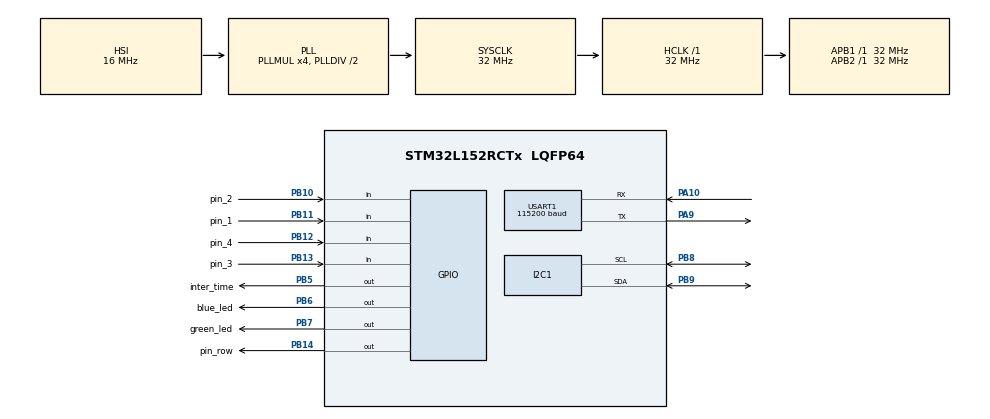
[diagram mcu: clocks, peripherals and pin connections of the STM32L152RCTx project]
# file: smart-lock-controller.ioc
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FREERTOS.Tasks01=defaultTask,24,128,StartDefaultTask,Default,NULL,Dynamic,NULL,NULL;init_task,24,128,InitTask,Default,NULL,Dynamic,NULL,NULL;close_state_tas,24,128,CloseStateTask,Default,NULL,Dynamic,NULL,NULL;input_task,24,128,InputTask,Default,NULL,Dynamic,NULL,NULL;open_task,24,128,OpenTask,Default,NULL,Dynamic,NULL,NULL
FREERTOS.configTOTAL_HEAP_SIZE=20000
FREERTOS.configUSE_TASK_NOTIFICATIONS=0
I2C1.I2C_Mode=I2C_Standard
Mcu.Family=STM32L1
Mcu.Name=STM32L152RCTx
Mcu.Package=LQFP64
NVIC.PriorityGroup=NVIC_PRIORITYGROUP_4
NVIC.TIM2_IRQn=true\:0\:0\:false\:false\:true\:false\:false\:true
NVIC.TIM9_IRQn=true\:5\:0\:false\:false\:true\:true\:true\:true
NVIC.TimeBase=TIM2_IRQn
NVIC.TimeBaseIP=TIM2
PA10.Mode=Asynchronous
PA10.Signal=USART1_RX
PA9.Mode=Asynchronous
PA9.Signal=USART1_TX
PB10.GPIO_Label=pin_2
PB10.GPIO_PuPd=GPIO_PULLDOWN
PB10.Signal=GPIO_Input
PB11.GPIO_Label=pin_1
PB11.GPIO_PuPd=GPIO_PULLDOWN
PB11.Signal=GPIO_Input
PB12.GPIO_Label=pin_4
PB12.GPIO_PuPd=GPIO_PULLDOWN
PB12.Signal=GPIO_Input
PB13.GPIO_Label=pin_3
PB13.GPIO_PuPd=GPIO_PULLDOWN
PB13.Signal=GPIO_Input
PB14.GPIO_Label=pin_row
PB14.GPIO_PuPd=GPIO_PULLUP
PB14.Signal=GPIO_Output
PB5.GPIO_Label=inter_time
PB5.Signal=GPIO_Output
PB6.GPIO_Label=blue_led
PB6.PinState=GPIO_PIN_RESET
PB6.Signal=GPIO_Output
PB7.GPIO_Label=green_led
PB7.PinState=GPIO_PIN_RESET
PB7.Signal=GPIO_Output
PB8.Mode=I2C
PB8.Signal=I2C1_SCL
PB9.Mode=I2C
PB9.Signal=I2C1_SDA
PH0-OSC_IN.Mode=HSE-External-Oscillator
PH0-OSC_IN.Signal=RCC_OSC_IN
PH1-OSC_OUT.Mode=HSE-External-Oscillator
PH1-OSC_OUT.Signal=RCC_OSC_OUT
ProjectManager.HeapSize=0x200
ProjectManager.StackSize=0x400
ProjectManager.TargetToolchain=STM32CubeIDE
RCC.48MHZClocksFreq_Value=32000000
RCC.AHBFreq_Value=32000000
RCC.APB1Freq_Value=32000000
RCC.APB1TimFreq_Value=32000000
RCC.APB2Freq_Value=32000000
RCC.APB2TimFreq_Value=32000000
RCC.HCLKFreq_Value=32000000
RCC.HSE_VALUE=24000000
RCC.HSI_VALUE=16000000
RCC.LSE_VALUE=32768
RCC.MSI_VALUE=2097000
RCC.PLLMUL=RCC_PLL_MUL4
RCC.SYSCLKFreq_VALUE=32000000
RCC.SYSCLKSource=RCC_SYSCLKSOURCE_PLLCLK
RCC.VCOOutputFreq_Value=64000000
TIM9.Period=20000
TIM9.Prescaler=32000
USART1.BaudRate=115200
USART1.VirtualMode=VM_ASYNC
VP_FREERTOS_VS_CMSIS_V2.Mode=CMSIS_V2
VP_SYS_VS_tim2.Mode=TIM2
VP_TIM9_VS_ClockSourceINT.Mode=Internal
board=custom

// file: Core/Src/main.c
/* USER CODE BEGIN Header */
/**
  ******************************************************************************
  * @file           : main.c
  * @brief          : Main program body
  ******************************************************************************
  * @attention
  *
  * <h2><center>&copy; Copyright (c) 2020 STMicroelectronics.
  * All rights reserved.</center></h2>
  *
  * This software component is licensed by ST under BSD 3-Clause license,
  * the "License"; You may not use this file except in compliance with the
  * License. You may obtain a copy of the License at:
  *                        opensource.org/licenses/BSD-3-Clause
  *
  ******************************************************************************
  */
/* USER CODE END Header */

#include "main.h"
#include "cmsis_os.h"

/* USER CODE BEGIN Includes */
#include "wifi.h"
#include "utils.h"
#include "lcd16x2_i2c.h"
#include <string.h>
//#include "UartRingbuffer_multi.h"
/* USER CODE END Includes */

I2C_HandleTypeDef hi2c1;

TIM_HandleTypeDef htim9;

UART_HandleTypeDef huart1;

/* Definitions for defaultTask */
osThreadId_t defaultTaskHandle;
const osThreadAttr_t defaultTask_attributes = {
  .name = "defaultTask",
  .priority = (osPriority_t) osPriorityNormal,
  .stack_size = 128 * 4
};
/* Definitions for init_task */
osThreadId_t init_taskHandle;
const osThreadAttr_t init_task_attributes = {
  .name = "init_task",
  .priority = (osPriority_t) osPriorityNormal,
  .stack_size = 128 * 4
};
/* Definitions for close_state_tas */
osThreadId_t close_state_tasHandle;
const osThreadAttr_t close_state_tas_attributes = {
  .name = "close_state_tas",
  .priority = (osPriority_t) osPriorityNormal,
  .stack_size = 128 * 4
};
/* Definitions for input_task */
osThreadId_t input_taskHandle;
const osThreadAttr_t input_task_attributes = {
  .name = "input_task",
  .priority = (osPriority_t) osPriorityNormal,
  .stack_size = 128 * 4
};
/* Definitions for open_task */
osThreadId_t open_taskHandle;
const osThreadAttr_t open_task_attributes = {
  .name = "open_task",
  .priority = (osPriority_t) osPriorityNormal,
  .stack_size = 128 * 4
};

void SystemClock_Config(void);
static void MX_GPIO_Init(void);
static void MX_USART1_UART_Init(void);
static void MX_TIM9_Init(void);
static void MX_I2C1_Init(void);
void StartDefaultTask(void *argument);
void InitTask(void *argument);
void CloseStateTask(void *argument);
void InputTask(void *argument);
void OpenTask(void *argument);

/* USER CODE BEGIN 0 */

const char network_name[] = "Mars aliens";
const char network_pasw[]="Zhjcnysqv`l900";
const char serv_ip[]="188.242.89.179";
const char control_id[]="1";

char read_keypad()
{
  HAL_GPIO_WritePin(GPIOB, pin_row_Pin, GPIO_PIN_SET);

  if ((HAL_GPIO_ReadPin(GPIOB, pin_1_Pin))) {
    while ((HAL_GPIO_ReadPin(GPIOB, pin_1_Pin)));
    return '1';
  }

  if ((HAL_GPIO_ReadPin(GPIOB, pin_4_Pin))) {
    while ((HAL_GPIO_ReadPin(GPIOB, pin_4_Pin)));
    return '4';
  }
  if ((HAL_GPIO_ReadPin(GPIOB, pin_2_Pin))) {
    while ((HAL_GPIO_ReadPin(GPIOB, pin_2_Pin)));
    return '2';
  }
  if ((HAL_GPIO_ReadPin(GPIOB, pin_3_Pin))) {
    while ((HAL_GPIO_ReadPin(GPIOB, pin_3_Pin)));
    return '3';
  }
}

/* USER CODE END 0 */

int main(void)
{

  /* MCU Configuration--------------------------------------------------------*/

  /* Reset of all peripherals, Initializes the Flash interface and the Systick. */
  HAL_Init();

  /* Configure the system clock */
  SystemClock_Config();

  /* Initialize all configured peripherals */
  MX_GPIO_Init();
  MX_USART1_UART_Init();
  MX_TIM9_Init();
  MX_I2C1_Init();
  /* USER CODE BEGIN 2 */
  lcd16x2_i2c_init(&hi2c1);
  /* USER CODE END 2 */

  /* Init scheduler */
  osKernelInitialize();

  /* Create the thread(s) */
  /* creation of defaultTask */
  defaultTaskHandle = osThreadNew(StartDefaultTask, NULL, &defaultTask_attributes);

  /* creation of init_task */
  init_taskHandle = osThreadNew(InitTask, NULL, &init_task_attributes);

  /* creation of close_state_tas */
  close_state_tasHandle = osThreadNew(CloseStateTask, NULL, &close_state_tas_attributes);

  /* creation of input_task */
  input_taskHandle = osThreadNew(InputTask, NULL, &input_task_attributes);

  /* creation of open_task */
  open_taskHandle = osThreadNew(OpenTask, NULL, &open_task_attributes);

  /* USER CODE BEGIN RTOS_THREADS */
  vTaskSuspend(defaultTaskHandle);
  vTaskSuspend(close_state_tasHandle);
  vTaskSuspend(input_taskHandle);
  vTaskSuspend(open_taskHandle);
  /* USER CODE END RTOS_THREADS */

  /* Start scheduler */
  osKernelStart();

  /* We should never get here as control is now taken by the scheduler */
  /* Infinite loop */
  /* USER CODE BEGIN WHILE */
  while (1)
  {

	  return 0;
    /* USER CODE END WHILE */

  }
}

void SystemClock_Config(void)
{
  RCC_OscInitTypeDef RCC_OscInitStruct = {0};
  RCC_ClkInitTypeDef RCC_ClkInitStruct = {0};

  /** Configure the main internal regulator output voltage
  */
  __HAL_PWR_VOLTAGESCALING_CONFIG(PWR_REGULATOR_VOLTAGE_SCALE1);
  /** Initializes the CPU, AHB and APB busses clocks
  */
  RCC_OscInitStruct.OscillatorType = RCC_OSCILLATORTYPE_HSI;
  RCC_OscInitStruct.HSIState = RCC_HSI_ON;
  RCC_OscInitStruct.HSICalibrationValue = RCC_HSICALIBRATION_DEFAULT;
  RCC_OscInitStruct.PLL.PLLState = RCC_PLL_ON;
  RCC_OscInitStruct.PLL.PLLSource = RCC_PLLSOURCE_HSI;
  RCC_OscInitStruct.PLL.PLLMUL = RCC_PLL_MUL4;
  RCC_OscInitStruct.PLL.PLLDIV = RCC_PLL_DIV2;
  if (HAL_RCC_OscConfig(&RCC_OscInitStruct) != HAL_OK)
  {
    Error_Handler();
  }
  /** Initializes the CPU, AHB and APB busses clocks
  */
  RCC_ClkInitStruct.ClockType = RCC_CLOCKTYPE_HCLK|RCC_CLOCKTYPE_SYSCLK
                              |RCC_CLOCKTYPE_PCLK1|RCC_CLOCKTYPE_PCLK2;
  RCC_ClkInitStruct.SYSCLKSource = RCC_SYSCLKSOURCE_PLLCLK;
  RCC_ClkInitStruct.AHBCLKDivider = RCC_SYSCLK_DIV1;
  RCC_ClkInitStruct.APB1CLKDivider = RCC_HCLK_DIV1;
  RCC_ClkInitStruct.APB2CLKDivider = RCC_HCLK_DIV1;

  if (HAL_RCC_ClockConfig(&RCC_ClkInitStruct, FLASH_LATENCY_1) != HAL_OK)
  {
    Error_Handler();
  }
}

static void MX_I2C1_Init(void)
{

  hi2c1.Instance = I2C1;
  hi2c1.Init.ClockSpeed = 100000;
  hi2c1.Init.DutyCycle = I2C_DUTYCYCLE_2;
  hi2c1.Init.OwnAddress1 = 0;
  hi2c1.Init.AddressingMode = I2C_ADDRESSINGMODE_7BIT;
  hi2c1.Init.DualAddressMode = I2C_DUALADDRESS_DISABLE;
  hi2c1.Init.OwnAddress2 = 0;
  hi2c1.Init.GeneralCallMode = I2C_GENERALCALL_DISABLE;
  hi2c1.Init.NoStretchMode = I2C_NOSTRETCH_DISABLE;
  if (HAL_I2C_Init(&hi2c1) != HAL_OK)
  {
    Error_Handler();
  }

}

static void MX_TIM9_Init(void)
{

  TIM_ClockConfigTypeDef sClockSourceConfig = {0};
  TIM_MasterConfigTypeDef sMasterConfig = {0};

  htim9.Instance = TIM9;
  htim9.Init.Prescaler = 32000;
  htim9.Init.CounterMode = TIM_COUNTERMODE_UP;
  htim9.Init.Period = 20000;
  htim9.Init.ClockDivision = TIM_CLOCKDIVISION_DIV1;
  htim9.Init.AutoReloadPreload = TIM_AUTORELOAD_PRELOAD_DISABLE;
  if (HAL_TIM_Base_Init(&htim9) != HAL_OK)
  {
    Error_Handler();
  }
  sClockSourceConfig.ClockSource = TIM_CLOCKSOURCE_INTERNAL;
  if (HAL_TIM_ConfigClockSource(&htim9, &sClockSourceConfig) != HAL_OK)
  {
    Error_Handler();
  }
  sMasterConfig.MasterOutputTrigger = TIM_TRGO_RESET;
  sMasterConfig.MasterSlaveMode = TIM_MASTERSLAVEMODE_DISABLE;
  if (HAL_TIMEx_MasterConfigSynchronization(&htim9, &sMasterConfig) != HAL_OK)
  {
    Error_Handler();
  }

}

static void MX_USART1_UART_Init(void)
{

  huart1.Instance = USART1;
  huart1.Init.BaudRate = 115200;
  huart1.Init.WordLength = UART_WORDLENGTH_8B;
  huart1.Init.StopBits = UART_STOPBITS_1;
  huart1.Init.Parity = UART_PARITY_NONE;
  huart1.Init.Mode = UART_MODE_TX_RX;
  huart1.Init.HwFlowCtl = UART_HWCONTROL_NONE;
  huart1.Init.OverSampling = UART_OVERSAMPLING_16;
  if (HAL_UART_Init(&huart1) != HAL_OK)
  {
    Error_Handler();
  }

}

static void MX_GPIO_Init(void)
{
  GPIO_InitTypeDef GPIO_InitStruct = {0};

  /* GPIO Ports Clock Enable */
  __HAL_RCC_GPIOH_CLK_ENABLE();
  __HAL_RCC_GPIOB_CLK_ENABLE();
  __HAL_RCC_GPIOA_CLK_ENABLE();

  /*Configure GPIO pin Output Level */
  HAL_GPIO_WritePin(GPIOB, pin_row_Pin|inter_time_Pin|blue_led_Pin|green_led_Pin, GPIO_PIN_RESET);

  /*Configure GPIO pins : pin_2_Pin pin_1_Pin pin_4_Pin pin_3_Pin */
  GPIO_InitStruct.Pin = pin_2_Pin|pin_1_Pin|pin_4_Pin|pin_3_Pin;
  GPIO_InitStruct.Mode = GPIO_MODE_INPUT;
  GPIO_InitStruct.Pull = GPIO_PULLDOWN;
  HAL_GPIO_Init(GPIOB, &GPIO_InitStruct);

  /*Configure GPIO pin : pin_row_Pin */
  GPIO_InitStruct.Pin = pin_row_Pin;
  GPIO_InitStruct.Mode = GPIO_MODE_OUTPUT_PP;
  GPIO_InitStruct.Pull = GPIO_PULLUP;
  GPIO_InitStruct.Speed = GPIO_SPEED_FREQ_LOW;
  HAL_GPIO_Init(pin_row_GPIO_Port, &GPIO_InitStruct);

  /*Configure GPIO pins : inter_time_Pin blue_led_Pin green_led_Pin */
  GPIO_InitStruct.Pin = inter_time_Pin|blue_led_Pin|green_led_Pin;
  GPIO_InitStruct.Mode = GPIO_MODE_OUTPUT_PP;
  GPIO_InitStruct.Pull = GPIO_NOPULL;
  GPIO_InitStruct.Speed = GPIO_SPEED_FREQ_LOW;
  HAL_GPIO_Init(GPIOB, &GPIO_InitStruct);

}

void StartDefaultTask(void *argument)
{
  for(;;)
  {
    osDelay(1);
  }
}

void InitTask(void *argument)
{
  /* USER CODE BEGIN InitTask */
	enum GosServerCommands serv_answer;
	if (RC_FAIL(check_esp_available(&huart1))) {
		return;
	}
	lcd16x2_i2c_clear();
	lcd16x2_i2c_printf("ESP OK");
	osDelay(1000);
	if (RC_FAIL(init_esp(&huart1))) {
		return;
	}
	lcd16x2_i2c_clear();
	lcd16x2_i2c_printf("ESP READY");

	osDelay(3000);

	lcd16x2_i2c_clear();
	lcd16x2_i2c_printf("NETWORK CONNECT");
	if (RC_FAIL(connect_to_network(&huart1, network_name, network_pasw))) {
		lcd16x2_i2c_clear();
		lcd16x2_i2c_printf("CONNECTION FAIL");
		return;
	}
	lcd16x2_i2c_clear();
	lcd16x2_i2c_printf("CONNECTED");

	osDelay(5000);

	lcd16x2_i2c_clear();
	lcd16x2_i2c_printf("SERVER CONNECT");
	if (RC_FAIL(connect_to_server(&huart1, serv_ip, 9876))) {
		lcd16x2_i2c_clear();
		lcd16x2_i2c_printf("CONNECTION FAIL");
		return;
	}
	lcd16x2_i2c_clear();
	lcd16x2_i2c_printf("CONNECTED");

	osDelay(2500);

	lcd16x2_i2c_clear();
	if (RC_FAIL(send_hello(&huart1, control_id))) {
		return;
	}
	osDelay(2000);

	vTaskResume(close_state_tasHandle);

  /* Infinite loop */
  for(;;)
  {
	  serv_answer = recieve_command(&huart1);// ожидание сообщения от сервера
	  if (serv_answer == GOS_CLOSE_CMD){
		 vTaskResume(close_state_tasHandle);
		 serv_answer = UNKNOWN_CMD;
	  }
	  else if (serv_answer == GOS_GET_CMD) {
		 vTaskResume(input_taskHandle);
		 serv_answer = UNKNOWN_CMD;
		 vTaskSuspend(NULL);
	  }
	  else if (serv_answer == GOS_OPEN_CMD){
		 vTaskSuspend(close_state_tasHandle);
		 vTaskSuspend(input_taskHandle);
		 vTaskResume(open_taskHandle);
		 serv_answer = UNKNOWN_CMD;
		 vTaskSuspend(NULL);
	  }

  }
  /* USER CODE END InitTask */
}

void CloseStateTask(void *argument)
{
  /* USER CODE BEGIN CloseStateTask */
  /* Infinite loop */
  for(;;)
  {
	lcd16x2_i2c_clear();
	lcd16x2_i2c_printf("Close");
	send_locked(&huart1);
    osDelay(1);

	vTaskResume(init_taskHandle);
    vTaskSuspend(NULL);
  }
  /* USER CODE END CloseStateTask */
}

void InputTask(void *argument)
{
  /* USER CODE BEGIN InputTask */
  /* Infinite loop */
  for (;;) {
		  HAL_TIM_Base_Start_IT(&htim9);
		  HAL_GPIO_WritePin(GPIOB, inter_time_Pin, GPIO_PIN_RESET);
		  int i = 0;
		  char pin[5];
		  char pin_print[10] = "PIN: ";
		  pin[4] = '\0';
		  GPIO_PinState wait = GPIO_PIN_RESET;

		  lcd16x2_i2c_clear();//очистить экран

		  HAL_GPIO_WritePin(GPIOB, blue_led_Pin, GPIO_PIN_SET);
		  lcd16x2_i2c_printf("PIN:");//вывести на экран PIN:
		  while (i < 4 && (wait == GPIO_PIN_RESET)){
			  wait = HAL_GPIO_ReadPin(GPIOB, inter_time_Pin);
			  char a = read_keypad();
			  if (a =='1' || a =='2' || a =='3' || a =='4') {		//проверка на таймают ?
				  pin[i] = a;
				  pin_print[i+5] = a;
				  a = '0';
				  lcd16x2_i2c_clear();
				  lcd16x2_i2c_printf(pin_print);//введеную цифру на экран
				  i++;
			  }
		  }

		  strcpy(pin_print, "PIN: ");

		  if(wait == GPIO_PIN_RESET){
			  send_password(&huart1, pin); //отправить GOS_PASS=pin
		  }
		  vTaskResume(init_taskHandle);
		  HAL_TIM_Base_Stop_IT(&htim9);
		  __HAL_TIM_SET_COUNTER(&htim9, 0x0000);
		  HAL_GPIO_WritePin(GPIOB, inter_time_Pin, GPIO_PIN_RESET);

		  HAL_GPIO_WritePin(GPIOB, blue_led_Pin, GPIO_PIN_RESET);
		  lcd16x2_i2c_clear();
		  vTaskSuspend(NULL);
  }
  /* USER CODE END InputTask */
}

void OpenTask(void *argument)
{
  /* USER CODE BEGIN OpenTask */
  /* Infinite loop */
  for(;;)
  {

	  	lcd16x2_i2c_clear();
	    lcd16x2_i2c_printf("Open");

		HAL_GPIO_WritePin(GPIOB, green_led_Pin, GPIO_PIN_SET);

		osDelay(10000);
		HAL_GPIO_WritePin(GPIOB, green_led_Pin, GPIO_PIN_RESET);
		vTaskResume(close_state_tasHandle);
		vTaskSuspend(NULL);
  }
  /* USER CODE END OpenTask */
}

 /**
  * @brief  Period elapsed callback in non blocking mode
  * @note   This function is called  when TIM2 interrupt took place, inside
  * HAL_TIM_IRQHandler(). It makes a direct call to HAL_IncTick() to increment
  * a global variable "uwTick" used as application time base.
  * @param  htim : TIM handle
  * @retval None
  */
void HAL_TIM_PeriodElapsedCallback(TIM_HandleTypeDef *htim)
{
  if (htim->Instance == TIM2) {
    HAL_IncTick();
  }
}

void Error_Handler(void)
{
}

/************************ (C) COPYRIGHT STMicroelectronics *****END OF FILE****/
